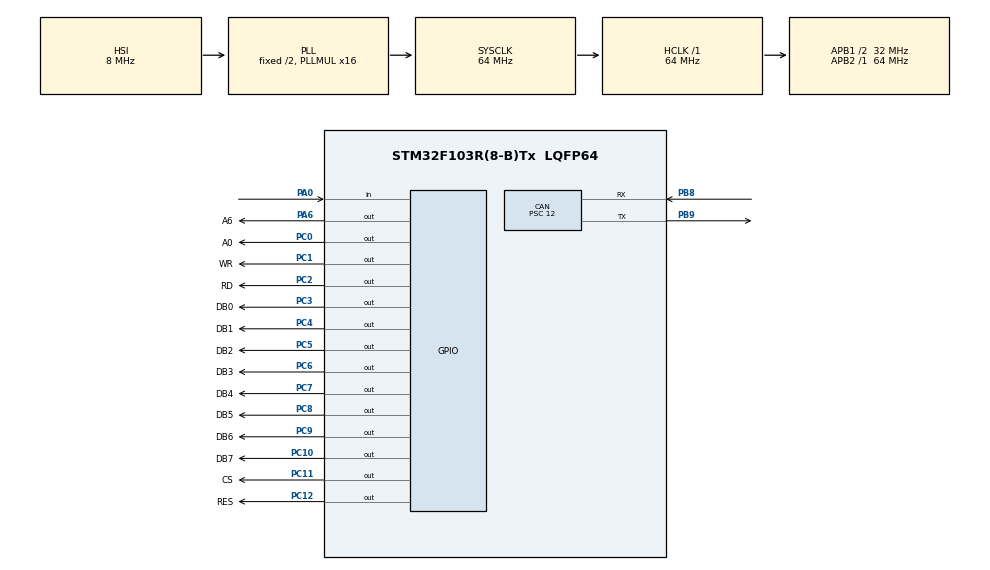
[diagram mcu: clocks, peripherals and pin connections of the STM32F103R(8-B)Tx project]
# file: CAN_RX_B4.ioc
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CAN.BS1=CAN_BS1_13TQ
CAN.BS2=CAN_BS2_2TQ
CAN.CalculateBaudRate=166666
CAN.CalculateTimeBit=6000.00
CAN.CalculateTimeQuantum=375.0
CAN.Prescaler=12
Mcu.Family=STM32F1
Mcu.Name=STM32F103R(8-B)Tx
Mcu.Package=LQFP64
NVIC.PriorityGroup=NVIC_PRIORITYGROUP_4
PA0-WKUP.GPIO_PuPd=GPIO_PULLDOWN
PA0-WKUP.Signal=GPIO_Input
PA13.Mode=Serial_Wire
PA13.Signal=SYS_JTMS-SWDIO
PA14.Mode=Serial_Wire
PA14.Signal=SYS_JTCK-SWCLK
PA6.GPIO_Label=A6
PA6.Signal=GPIO_Output
PB8.Mode=CAN_Activate
PB8.Signal=CAN_RX
PB9.Mode=CAN_Activate
PB9.Signal=CAN_TX
PC0.GPIO_Label=A0
PC0.Signal=GPIO_Output
PC1.GPIO_Label=WR
PC1.Signal=GPIO_Output
PC10.GPIO_Label=DB7
PC10.Signal=GPIO_Output
PC11.GPIO_Label=CS
PC11.Signal=GPIO_Output
PC12.GPIO_Label=RES
PC12.Signal=GPIO_Output
PC2.GPIO_Label=RD
PC2.Signal=GPIO_Output
PC3.GPIO_Label=DB0
PC3.Signal=GPIO_Output
PC4.GPIO_Label=DB1
PC4.Signal=GPIO_Output
PC5.GPIO_Label=DB2
PC5.Signal=GPIO_Output
PC6.GPIO_Label=DB3
PC6.Signal=GPIO_Output
PC7.GPIO_Label=DB4
PC7.Signal=GPIO_Output
PC8.GPIO_Label=DB5
PC8.Signal=GPIO_Output
PC9.GPIO_Label=DB6
PC9.Signal=GPIO_Output
ProjectManager.HeapSize=0x200
ProjectManager.StackSize=0x400
ProjectManager.TargetToolchain=STM32CubeIDE
RCC.AHBFreq_Value=64000000
RCC.APB1CLKDivider=RCC_HCLK_DIV2
RCC.APB1Freq_Value=32000000
RCC.APB1TimFreq_Value=64000000
RCC.APB2Freq_Value=64000000
RCC.APB2TimFreq_Value=64000000
RCC.HCLKFreq_Value=64000000
RCC.PLLMUL=RCC_PLL_MUL16
RCC.SYSCLKFreq_VALUE=64000000
RCC.SYSCLKSource=RCC_SYSCLKSOURCE_PLLCLK
RCC.USBFreq_Value=64000000
board=custom

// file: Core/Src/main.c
/* USER CODE BEGIN Header */
/**
  ******************************************************************************
  * @file           : main.c
  * @brief          : Main program body
  ******************************************************************************
  * @attention
  *
  * <h2><center>&copy; Copyright (c) 2021 STMicroelectronics.
  * All rights reserved.</center></h2>
  *
  * This software component is licensed by ST under BSD 3-Clause license,
  * the "License"; You may not use this file except in compliance with the
  * License. You may obtain a copy of the License at:
  *                        opensource.org/licenses/BSD-3-Clause
  *
  ******************************************************************************
  */
/* USER CODE END Header */
#include "main.h"
#include "can.h"
#include "gpio.h"

/* USER CODE BEGIN PV */

// CAN variables
CAN_FilterTypeDef CAN_filter0;
CAN_FilterTypeDef CAN_filter1;
CAN_RxHeaderTypeDef CAN_rx_header;
uint8_t CAN_rx_data[8];

/* USER CODE END PV */

void SystemClock_Config(void);

/* USER CODE BEGIN 0 */

void blink_A6(int num, int delay)
{
	for (int i = 0; i < num; i++)
	{
		HAL_GPIO_WritePin(GPIOA, GPIO_PIN_6, 1);
		HAL_Delay(delay);
		HAL_GPIO_WritePin(GPIOA, GPIO_PIN_6, 0);
		HAL_Delay(delay);
	}
}

/* USER CODE END 0 */

int main(void)
{

  /* MCU Configuration--------------------------------------------------------*/

  /* Reset of all peripherals, Initializes the Flash interface and the Systick. */
  HAL_Init();

  /* Configure the system clock */
  SystemClock_Config();

  /* Initialize all configured peripherals */
  MX_GPIO_Init();
  MX_CAN_Init();
  /* USER CODE BEGIN 2 */

  // Configure reception filters (3)
  CanFilterSetup();

  // Start CAN Module (4)
  HAL_CAN_Start(&hcan);

  HAL_GPIO_WritePin(GPIOA, GPIO_PIN_6, 0); 	// reset blinker

  /* USER CODE END 2 */

  /* Infinite loop */
  /* USER CODE BEGIN WHILE */
  while (1)
  {
	  	// NUCLEO red led
	  	if ((HAL_CAN_GetRxFifoFillLevel(&hcan, CAN_RX_FIFO0) != 0))
		{
			HAL_CAN_GetRxMessage(&hcan, CAN_RX_FIFO0, &CAN_rx_header, CAN_rx_data);
			// Blink specific number of times based on TX headers in the CAN_TX file
			switch (CAN_rx_header.StdId)
			{
				case 0x401:
					blink_A6(1,100);
					break;

				case 0x501:
					blink_A6(2,100);
					break;

				case 0x503:
					blink_A6(3,100);
					break;

				case 0x50B:
					blink_A6(4,100);
					break;

				case 0x622:
					blink_A6(5,100);
					break;

				case 0x623:
					blink_A6(6,100);
					break;

				case 0x626:
					blink_A6(7,100);
					break;

				case 0x627:
					blink_A6(8,100);
					break;

				// For demo purposes
				case 0x301:
					blink_A6(9,100);
					break;

				case 0x302:
					blink_A6(10,100); // This ID should not blink because it is not included in can.c -> filter1
					break;

				case 0x303:
					blink_A6(11,100);
					break;
			}

		}
	  	// stale on when nothing received
	  	else
	  	{
			HAL_GPIO_WritePin(GPIOA, GPIO_PIN_6, 0);
	  	}

    /* USER CODE END WHILE */

  }
}

void SystemClock_Config(void)
{
  RCC_OscInitTypeDef RCC_OscInitStruct = {0};
  RCC_ClkInitTypeDef RCC_ClkInitStruct = {0};

  /** Initializes the RCC Oscillators according to the specified parameters
  * in the RCC_OscInitTypeDef structure.
  */
  RCC_OscInitStruct.OscillatorType = RCC_OSCILLATORTYPE_HSI;
  RCC_OscInitStruct.HSIState = RCC_HSI_ON;
  RCC_OscInitStruct.HSICalibrationValue = RCC_HSICALIBRATION_DEFAULT;
  RCC_OscInitStruct.PLL.PLLState = RCC_PLL_ON;
  RCC_OscInitStruct.PLL.PLLSource = RCC_PLLSOURCE_HSI_DIV2;
  RCC_OscInitStruct.PLL.PLLMUL = RCC_PLL_MUL16;
  if (HAL_RCC_OscConfig(&RCC_OscInitStruct) != HAL_OK)
  {
    Error_Handler();
  }
  /** Initializes the CPU, AHB and APB buses clocks
  */
  RCC_ClkInitStruct.ClockType = RCC_CLOCKTYPE_HCLK|RCC_CLOCKTYPE_SYSCLK
                              |RCC_CLOCKTYPE_PCLK1|RCC_CLOCKTYPE_PCLK2;
  RCC_ClkInitStruct.SYSCLKSource = RCC_SYSCLKSOURCE_PLLCLK;
  RCC_ClkInitStruct.AHBCLKDivider = RCC_SYSCLK_DIV1;
  RCC_ClkInitStruct.APB1CLKDivider = RCC_HCLK_DIV2;
  RCC_ClkInitStruct.APB2CLKDivider = RCC_HCLK_DIV1;

  if (HAL_RCC_ClockConfig(&RCC_ClkInitStruct, FLASH_LATENCY_2) != HAL_OK)
  {
    Error_Handler();
  }
}

void Error_Handler(void)
{
  __disable_irq();
  while (1)
  {
  }
}

/************************ (C) COPYRIGHT STMicroelectronics *****END OF FILE****/
